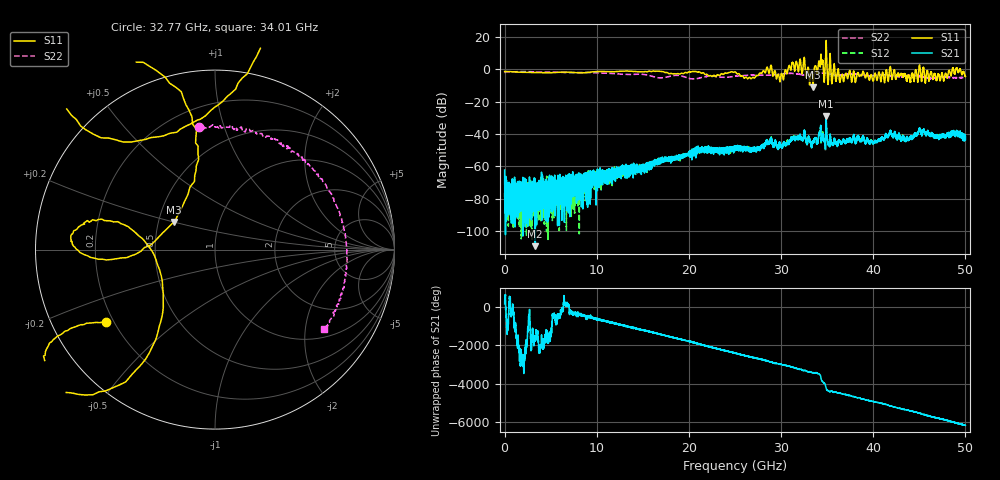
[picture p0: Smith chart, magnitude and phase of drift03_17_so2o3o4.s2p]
!Created with skrf (http://scikit-rf.org).
# Hz S RI R 50.0
!freq ReS11 ImS11 ReS21 ImS21 ReS12 ImS12 ReS22 ImS22
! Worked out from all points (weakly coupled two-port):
!   10001 points, 300 kHz to 50 GHz, reference 50 ohm
!   highest |S21| = -29.14 dB at 34.89 GHz (marker M1); lowest = -109.5 dB at 3.33 GHz (marker M2)
!   lowest |S11| = -11.2 dB at 33.47 GHz (marker M3), VSWR 1.76, Z = 30.1 + j10 ohm
!   |S11| at or under -10 dB: 33.44632 GHz to 33.48519 GHz (38.87 MHz wide, 0.116 % of centre)
!   |S22| runs from -5.9 to -1.3 dB; largest |S21 - S12| = 0.0083
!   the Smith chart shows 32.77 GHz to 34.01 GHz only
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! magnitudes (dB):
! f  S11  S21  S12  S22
! 300 kHz  -1.3  -62.4  -76.4  -2.1
! 280.3 MHz  -1.3  -79.6  -73.2  -1.4
! 3.33 GHz  -1.9  -109.5  -82.2  -1.5
! 8.335 GHz  -2.2  -85.2  -70.4  -1.9
! 16.67 GHz  -1.1  -57.6  -56.9  -5.2
! 25 GHz  -1.5  -48.9  -47.9  -4.3
! 26.92 GHz  -4.9  -49.6  -48.8  -3.6
! 28.72 GHz  -2.3  -45.5  -45.9  -3.6
! 30.06 GHz  -2.5  -48.0  -47.5  -2.9
! 31.88 GHz  -1.5  -41.6  -41.9  -2.9
! 33.34 GHz  -2.1  -47.8  -47.5  -2.9
! 33.47 GHz  -11.2  -44.0  -44.8  -2.8
! 34.3 GHz  7.4  -34.6  -35.4  -2.4
! 34.89 GHz  17.7  -29.1  -31.0  -2.4
! 36.58 GHz  -3.3  -46.4  -45.7  -3.6
! 40.18 GHz  -2.5  -44.9  -44.3  -3.7
! 41.67 GHz  -5.7  -40.8  -40.9  -3.7
! 43.84 GHz  -3.5  -42.9  -43.7  -3.9
! 45.21 GHz  -6.5  -38.9  -39.0  -4.5
! 47.07 GHz  -3.0  -42.3  -42.1  -5.1
! 49.22 GHz  -2.0  -41.8  -39.4  -5.1
! 50 GHz  -4.4  -43.5  -43.1  -5.0
